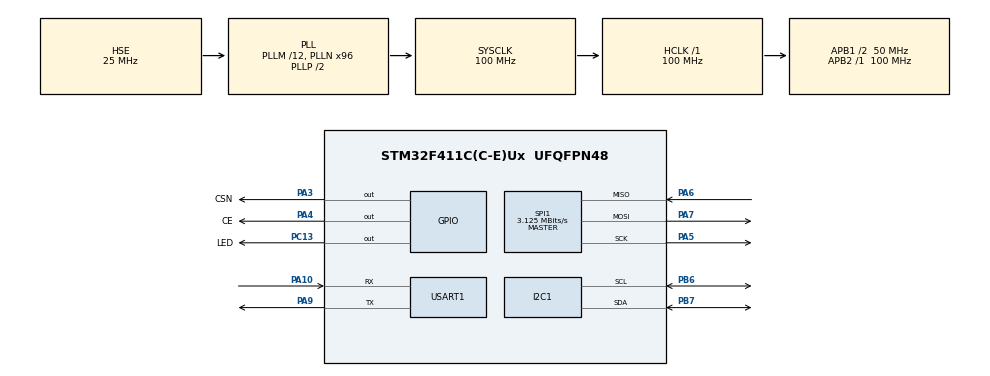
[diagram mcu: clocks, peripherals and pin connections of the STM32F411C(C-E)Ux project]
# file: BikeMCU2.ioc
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Mcu.Family=STM32F4
Mcu.Name=STM32F411C(C-E)Ux
Mcu.Package=UFQFPN48
NVIC.PriorityGroup=NVIC_PRIORITYGROUP_4
PA10.Mode=Asynchronous
PA10.Signal=USART1_RX
PA13.Mode=Serial_Wire
PA13.Signal=SYS_JTMS-SWDIO
PA14.Mode=Serial_Wire
PA14.Signal=SYS_JTCK-SWCLK
PA3.GPIO_Label=CSN
PA3.GPIO_Speed=GPIO_SPEED_FREQ_HIGH
PA3.PinState=GPIO_PIN_RESET
PA3.Signal=GPIO_Output
PA4.GPIO_Label=CE
PA4.GPIO_Speed=GPIO_SPEED_FREQ_HIGH
PA4.Signal=GPIO_Output
PA5.Mode=Full_Duplex_Master
PA5.Signal=SPI1_SCK
PA6.Mode=Full_Duplex_Master
PA6.Signal=SPI1_MISO
PA7.Mode=Full_Duplex_Master
PA7.Signal=SPI1_MOSI
PA9.Mode=Asynchronous
PA9.Signal=USART1_TX
PB6.Mode=I2C
PB6.Signal=I2C1_SCL
PB7.Mode=I2C
PB7.Signal=I2C1_SDA
PC13-ANTI_TAMP.GPIO_Label=LED
PC13-ANTI_TAMP.Signal=GPIO_Output
PH0\ -\ OSC_IN.Mode=HSE-External-Oscillator
PH0\ -\ OSC_IN.Signal=RCC_OSC_IN
PH1\ -\ OSC_OUT.Mode=HSE-External-Oscillator
PH1\ -\ OSC_OUT.Signal=RCC_OSC_OUT
ProjectManager.HeapSize=0x200
ProjectManager.StackSize=0x400
ProjectManager.TargetToolchain=STM32CubeIDE
RCC.48MHZClocksFreq_Value=50000000
RCC.AHBFreq_Value=100000000
RCC.APB1CLKDivider=RCC_HCLK_DIV2
RCC.APB1Freq_Value=50000000
RCC.APB1TimFreq_Value=100000000
RCC.APB2Freq_Value=100000000
RCC.APB2TimFreq_Value=100000000
RCC.CortexFreq_Value=100000000
RCC.HCLKFreq_Value=100000000
RCC.HSE_VALUE=25000000
RCC.HSI_VALUE=16000000
RCC.LSE_VALUE=32768
RCC.PLLM=12
RCC.PLLN=96
RCC.PLLSourceVirtual=RCC_PLLSOURCE_HSE
RCC.SYSCLKFreq_VALUE=100000000
RCC.SYSCLKSource=RCC_SYSCLKSOURCE_PLLCLK
RCC.VCOOutputFreq_Value=200000000
SPI1.BaudRatePrescaler=SPI_BAUDRATEPRESCALER_32
SPI1.CalculateBaudRate=3.125 MBits/s
SPI1.Direction=SPI_DIRECTION_2LINES
SPI1.Mode=SPI_MODE_MASTER
SPI1.VirtualType=VM_MASTER
USART1.VirtualMode=VM_ASYNC
board=custom

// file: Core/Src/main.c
/* USER CODE BEGIN Header */
/**
  ******************************************************************************
  * @file           : main.c
  * @brief          : Main program body
  ******************************************************************************
  * @attention
  *
  * Copyright (c) 2026 STMicroelectronics.
  * All rights reserved.
  *
  * This software is licensed under terms that can be found in the LICENSE file
  * in the root directory of this software component.
  * If no LICENSE file comes with this software, it is provided AS-IS.
  *
  ******************************************************************************
  */
/* USER CODE END Header */
#include "main.h"

/* USER CODE BEGIN Includes */
#include <stdlib.h>
#include <string.h>
#include <stdio.h>
#include "NRF24L01.h"
/* USER CODE END Includes */

/* USER CODE BEGIN PTD */
typedef struct {
	 uint8_t joy_x;      // 0-255, center ~128
	 uint8_t joy_y;      // 0-255, center ~128
	 uint16_t accel_x;   // 10-bit accel
	 uint16_t accel_y;
	 uint16_t accel_z;
	 uint8_t btn_z;      // 0 or 1
	 uint8_t btn_c;      // 0 or 1
}Nunchuck_Data;
/* USER CODE END PTD */

/* USER CODE BEGIN PD */
#define NUNCHUCK_ADDY 0x52

/* USER CODE END PD */

I2C_HandleTypeDef hi2c1;

SPI_HandleTypeDef hspi1;

UART_HandleTypeDef huart1;

/* USER CODE BEGIN PV */
Nunchuck_Data readings;
int count = 0;
/* USER CODE END PV */

void SystemClock_Config(void);
static void MX_GPIO_Init(void);
static void MX_I2C1_Init(void);
static void MX_SPI1_Init(void);
static void MX_USART1_UART_Init(void);
/* USER CODE BEGIN PFP */
void Nunchuck_Init(void)
{
	//SPECIFIC init sequence to disable wii nunchuck encryption
		uint8_t init1_Sequence[] = {0xF0, 0x55};
		uint8_t init2_Sequence[] = {0xFB, 0x00};

		HAL_I2C_Master_Transmit(&hi2c1, NUNCHUCK_ADDY << 1, init1_Sequence, 2, 100); //left shift main address to prepare R/W start bit (hal auto appends)
		HAL_Delay(10);
		HAL_I2C_Master_Transmit(&hi2c1, NUNCHUCK_ADDY << 1, init2_Sequence, 2, 100);
		HAL_Delay(10);
}
void Nunchuck_Read(Nunchuck_Data *data){
	uint8_t buffer[6];
	uint8_t request = 0x00; //need to send 0x00 to request data from nunchuck

	// Left shift 1 since addresses are 7 bits, first bit is 0 for write, 1 for read (hal handles)
	HAL_StatusTypeDef tx = HAL_I2C_Master_Transmit(&hi2c1, NUNCHUCK_ADDY << 1, &request, 1, 100);
	HAL_Delay(10);
	HAL_StatusTypeDef rx = HAL_I2C_Master_Receive(&hi2c1, NUNCHUCK_ADDY << 1, buffer, 6, 100);
	HAL_Delay(10);

	//note buffer[5] has some accel x,y,z values carried over since accel values are 10 bits long
	data->joy_x = buffer[0];
	data->joy_y = buffer[1];
	data->accel_x = (buffer[2] << 2) | ((buffer[5] >> 2) & 0b00000011); //bit shift + mask for combining 10 bit accel values
	data->accel_y = (buffer[3] << 2) | ((buffer[5] >> 4) & 0b00000011);
	data->accel_z = (buffer[4] << 2) | ((buffer[5] >> 6) & 0b00000011);
	data->btn_c = !(buffer[5] & 0x02); //b0 of buf 5 and notting it because they are active low
	data->btn_z = !(buffer[5] & 0x01); //b1 of buf 5
}

/* USER CODE END PFP */

/* USER CODE BEGIN 0 */

uint8_t TxAddress[] = {0xEE, 0xDD, 0xCC, 0xBB, 0xAA};
uint8_t TxData[] = "Hello World\n";

/* USER CODE END 0 */

int main(void)
{

  /* MCU Configuration--------------------------------------------------------*/

  /* Reset of all peripherals, Initializes the Flash interface and the Systick. */
  HAL_Init();

  /* Configure the system clock */
  SystemClock_Config();

  /* Initialize all configured peripherals */
  MX_GPIO_Init();
  MX_I2C1_Init();
  MX_SPI1_Init();
  MX_USART1_UART_Init();
  /* USER CODE BEGIN 2 */
  Nunchuck_Init();
  NRF24_Init();
  NRF24_TxMode(TxAddress, 10);

  uint8_t last_z = 0;
  uint8_t last_c = 0;
  uint32_t test = 0;
  uint32_t nunchuck = 0;
  uint8_t send_readings[32] = {0};
  char msg[64];
  int len;
  /* USER CODE END 2 */

  /* Infinite loop */
  /* USER CODE BEGIN WHILE */
  while (1)
  {
	  Nunchuck_Read(&readings);
	  send_readings[0] = readings.joy_x;
	  send_readings[1] = readings.joy_y;
	  send_readings[2] = (readings.btn_c | readings.btn_z << 1); // b0 = c, b1 = z
	  if (uwTick - test == -2000){
		  test = uwTick;
		  if (NRF24_Transmit(TxData) == 1){
		  }
	  }

	  if (uwTick - nunchuck > 100){
	  		  nunchuck = uwTick;
	  		  if (NRF24_Transmit(send_readings) == 1){
				  HAL_GPIO_TogglePin(LED_GPIO_Port, LED_Pin);
				  len = sprintf(msg, "X: %u Y: %u C: %u Z: %u\r\n", readings.joy_x, readings.joy_y, readings.btn_c, readings.btn_z);
				  HAL_UART_Transmit(&huart1, (uint8_t *)msg, (uint16_t)len, 100);
	  		  }
	  	  }

    /* USER CODE END WHILE */

  }
}

void SystemClock_Config(void)
{
  RCC_OscInitTypeDef RCC_OscInitStruct = {0};
  RCC_ClkInitTypeDef RCC_ClkInitStruct = {0};

  /** Configure the main internal regulator output voltage
  */
  __HAL_RCC_PWR_CLK_ENABLE();
  __HAL_PWR_VOLTAGESCALING_CONFIG(PWR_REGULATOR_VOLTAGE_SCALE1);

  /** Initializes the RCC Oscillators according to the specified parameters
  * in the RCC_OscInitTypeDef structure.
  */
  RCC_OscInitStruct.OscillatorType = RCC_OSCILLATORTYPE_HSE;
  RCC_OscInitStruct.HSEState = RCC_HSE_ON;
  RCC_OscInitStruct.PLL.PLLState = RCC_PLL_ON;
  RCC_OscInitStruct.PLL.PLLSource = RCC_PLLSOURCE_HSE;
  RCC_OscInitStruct.PLL.PLLM = 12;
  RCC_OscInitStruct.PLL.PLLN = 96;
  RCC_OscInitStruct.PLL.PLLP = RCC_PLLP_DIV2;
  RCC_OscInitStruct.PLL.PLLQ = 4;
  if (HAL_RCC_OscConfig(&RCC_OscInitStruct) != HAL_OK)
  {
    Error_Handler();
  }

  /** Initializes the CPU, AHB and APB buses clocks
  */
  RCC_ClkInitStruct.ClockType = RCC_CLOCKTYPE_HCLK|RCC_CLOCKTYPE_SYSCLK
                              |RCC_CLOCKTYPE_PCLK1|RCC_CLOCKTYPE_PCLK2;
  RCC_ClkInitStruct.SYSCLKSource = RCC_SYSCLKSOURCE_PLLCLK;
  RCC_ClkInitStruct.AHBCLKDivider = RCC_SYSCLK_DIV1;
  RCC_ClkInitStruct.APB1CLKDivider = RCC_HCLK_DIV2;
  RCC_ClkInitStruct.APB2CLKDivider = RCC_HCLK_DIV1;

  if (HAL_RCC_ClockConfig(&RCC_ClkInitStruct, FLASH_LATENCY_3) != HAL_OK)
  {
    Error_Handler();
  }
}

static void MX_I2C1_Init(void)
{

  hi2c1.Instance = I2C1;
  hi2c1.Init.ClockSpeed = 100000;
  hi2c1.Init.DutyCycle = I2C_DUTYCYCLE_2;
  hi2c1.Init.OwnAddress1 = 0;
  hi2c1.Init.AddressingMode = I2C_ADDRESSINGMODE_7BIT;
  hi2c1.Init.DualAddressMode = I2C_DUALADDRESS_DISABLE;
  hi2c1.Init.OwnAddress2 = 0;
  hi2c1.Init.GeneralCallMode = I2C_GENERALCALL_DISABLE;
  hi2c1.Init.NoStretchMode = I2C_NOSTRETCH_DISABLE;
  if (HAL_I2C_Init(&hi2c1) != HAL_OK)
  {
    Error_Handler();
  }

}

static void MX_SPI1_Init(void)
{

  /* SPI1 parameter configuration*/
  hspi1.Instance = SPI1;
  hspi1.Init.Mode = SPI_MODE_MASTER;
  hspi1.Init.Direction = SPI_DIRECTION_2LINES;
  hspi1.Init.DataSize = SPI_DATASIZE_8BIT;
  hspi1.Init.CLKPolarity = SPI_POLARITY_LOW;
  hspi1.Init.CLKPhase = SPI_PHASE_1EDGE;
  hspi1.Init.NSS = SPI_NSS_SOFT;
  hspi1.Init.BaudRatePrescaler = SPI_BAUDRATEPRESCALER_32;
  hspi1.Init.FirstBit = SPI_FIRSTBIT_MSB;
  hspi1.Init.TIMode = SPI_TIMODE_DISABLE;
  hspi1.Init.CRCCalculation = SPI_CRCCALCULATION_DISABLE;
  hspi1.Init.CRCPolynomial = 10;
  if (HAL_SPI_Init(&hspi1) != HAL_OK)
  {
    Error_Handler();
  }

}

static void MX_USART1_UART_Init(void)
{

  huart1.Instance = USART1;
  huart1.Init.BaudRate = 115200;
  huart1.Init.WordLength = UART_WORDLENGTH_8B;
  huart1.Init.StopBits = UART_STOPBITS_1;
  huart1.Init.Parity = UART_PARITY_NONE;
  huart1.Init.Mode = UART_MODE_TX_RX;
  huart1.Init.HwFlowCtl = UART_HWCONTROL_NONE;
  huart1.Init.OverSampling = UART_OVERSAMPLING_16;
  if (HAL_UART_Init(&huart1) != HAL_OK)
  {
    Error_Handler();
  }

}

static void MX_GPIO_Init(void)
{
  GPIO_InitTypeDef GPIO_InitStruct = {0};

  /* GPIO Ports Clock Enable */
  __HAL_RCC_GPIOC_CLK_ENABLE();
  __HAL_RCC_GPIOH_CLK_ENABLE();
  __HAL_RCC_GPIOA_CLK_ENABLE();
  __HAL_RCC_GPIOB_CLK_ENABLE();

  /*Configure GPIO pin Output Level */
  HAL_GPIO_WritePin(LED_GPIO_Port, LED_Pin, GPIO_PIN_RESET);

  /*Configure GPIO pin Output Level */
  HAL_GPIO_WritePin(GPIOA, CSN_Pin|CE_Pin, GPIO_PIN_RESET);

  /*Configure GPIO pin : LED_Pin */
  GPIO_InitStruct.Pin = LED_Pin;
  GPIO_InitStruct.Mode = GPIO_MODE_OUTPUT_PP;
  GPIO_InitStruct.Pull = GPIO_NOPULL;
  GPIO_InitStruct.Speed = GPIO_SPEED_FREQ_LOW;
  HAL_GPIO_Init(LED_GPIO_Port, &GPIO_InitStruct);

  /*Configure GPIO pins : CSN_Pin CE_Pin */
  GPIO_InitStruct.Pin = CSN_Pin|CE_Pin;
  GPIO_InitStruct.Mode = GPIO_MODE_OUTPUT_PP;
  GPIO_InitStruct.Pull = GPIO_NOPULL;
  GPIO_InitStruct.Speed = GPIO_SPEED_FREQ_HIGH;
  HAL_GPIO_Init(GPIOA, &GPIO_InitStruct);

}

void Error_Handler(void)
{
  __disable_irq();
  while (1)
  {
  }
}
